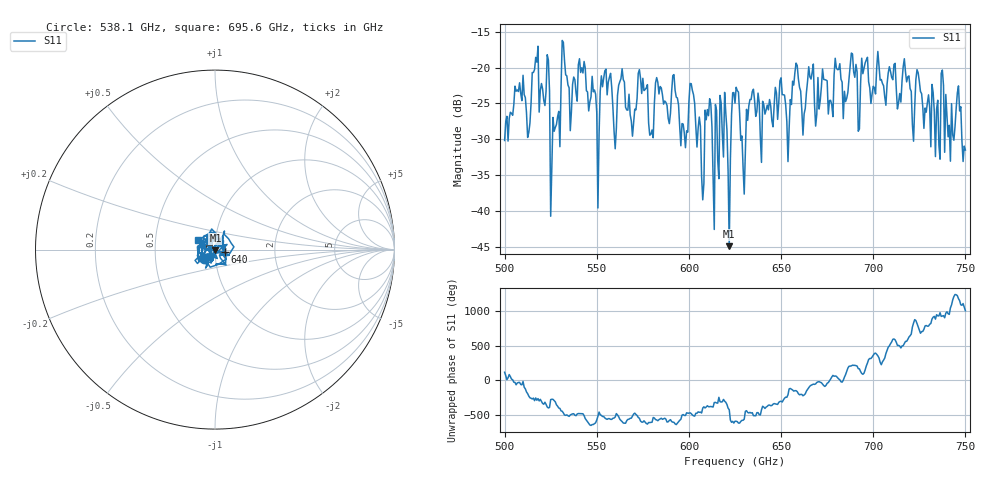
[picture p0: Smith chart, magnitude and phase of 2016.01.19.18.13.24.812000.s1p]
!Created with skrf (http://scikit-rf.org).
# GHz S RI R 50.0
!freq ReS11 ImS11
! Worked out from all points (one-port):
!   401 points, 500 GHz to 750 GHz, reference 50 ohm
!   lowest |S11| = -44.9 dB at 621.9 GHz (marker M1), VSWR 1.01, Z = 50.3 - j0.502 ohm
!   |S11| at or under -10 dB: start of sweep to end of sweep
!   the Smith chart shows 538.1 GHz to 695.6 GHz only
!   S11 on the Smith chart (normalised r, x): 538.1 GHz: 0.88, -0.09; 640 GHz: 1.12, -0.03; 695.6 GHz: 0.82, +0.09
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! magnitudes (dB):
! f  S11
! 500 GHz  -30.2
! 513.1 GHz  -29.1
! 516.9 GHz  -18.6
! 523.1 GHz  -18.2
! 526.2 GHz  -27.0
! 531.2 GHz  -16.2
! 538.1 GHz  -21.7
! 550.6 GHz  -39.6
! 553.8 GHz  -21.5
! 560 GHz  -31.3
! 562.5 GHz  -22.0
! 579.4 GHz  -29.3
! 593.8 GHz  -24.2
! 601.9 GHz  -23.2
! 606.9 GHz  -35.2
! 618.1 GHz  -29.3
! 621.9 GHz  -44.9
! 625 GHz  -25.0
! 629.4 GHz  -33.9
! 633.8 GHz  -24.5
! 640 GHz  -24.7
! 656.2 GHz  -21.9
! 687.5 GHz  -19.8
! 695.6 GHz  -19.3
! 718.8 GHz  -21.3
! 735 GHz  -24.6
! 746.2 GHz  -22.6
! 750 GHz  -31.5
